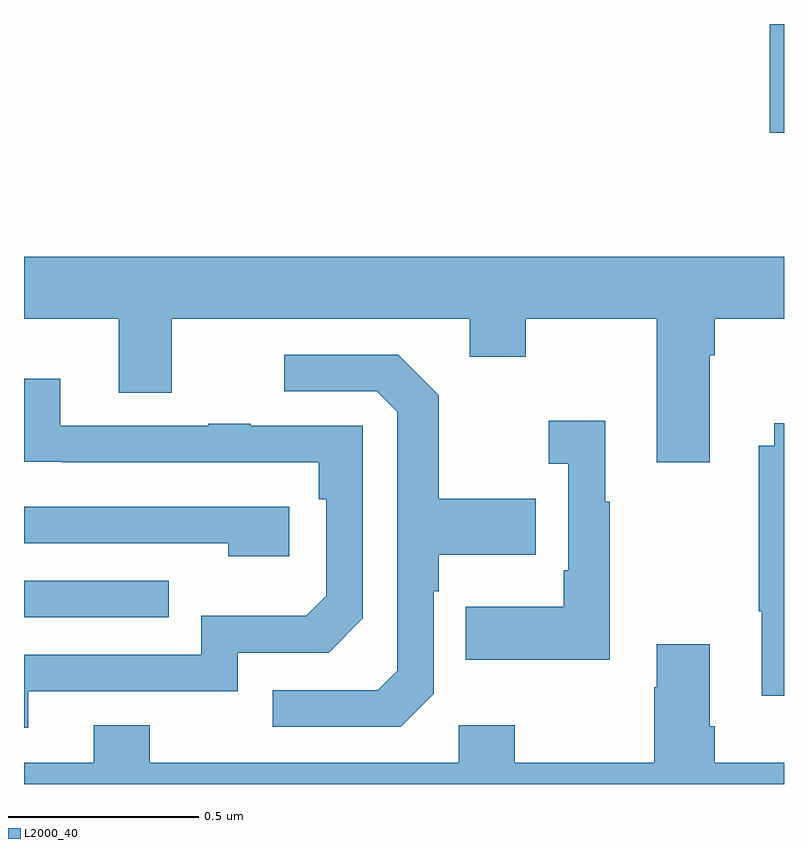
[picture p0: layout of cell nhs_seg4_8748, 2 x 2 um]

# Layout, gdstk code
import gdstk
lib = gdstk.Library(unit=1e-6, precision=1e-09)
def R(c, l, rs):  # rectangles x0, y0, x1, y1
    for r in rs: c.add(gdstk.rectangle(r[:2], r[2:], *l))
def P(c, l, *ps):  # polygons
    for p in ps: c.add(gdstk.Polygon(p, *l))
L2000_40 = (2000, 40)

nhs_seg4_8748 = lib.new_cell('nhs_seg4_8748')
R(nhs_seg4_8748, L2000_40, [(218,825.339,218.381,825.435), (219.962,826.614,220,826.9)])
P(nhs_seg4_8748, L2000_40, [(219.805,826.028),(219.818,826.028),(219.818,826.124),(220,826.124),(220,826.288),(218,826.288),(218,826.124),(218.249,826.124),(218.249,825.93),(218.389,825.93),(218.389,826.124),(219.173,826.124),(219.173,826.025),(219.321,826.025),(219.321,826.124),(219.665,826.124),(219.665,825.747),(219.805,825.747)],
  [(219.078,825.138),(219.078,825.407),(219.091,825.407),(219.091,825.503),(219.347,825.503),(219.347,825.651),(219.091,825.651),(219.091,825.923),(218.985,826.029),(218.685,826.029),(218.685,825.933),(218.928,825.933),(218.982,825.879),(218.982,825.198),(218.931,825.147),(218.655,825.147),(218.655,825.051),(218.991,825.051)],
  [(218.011,825.144),(218.562,825.144),(218.562,825.246),(218.802,825.246),(218.892,825.336),(218.892,825.843),(218.597,825.843),(218.597,825.848),(218.485,825.848),(218.485,825.843),(218.095,825.843),(218.095,825.967),(218,825.967),(218,825.748),(218.101,825.748),(218.101,825.747),(218.776,825.747),(218.776,825.65),(218.796,825.65),(218.796,825.396),(218.743,825.343),(218.466,825.343),(218.466,825.24),(218,825.24),(218,825.048),(218.011,825.048)],
  [(219.541,825.643),(219.529,825.643),(219.529,825.856),(219.381,825.856),(219.381,825.743),(219.432,825.743),(219.432,825.463),(219.42,825.463),(219.42,825.367),(219.163,825.367),(219.163,825.227),(219.541,825.227)],
  [(220,825.85),(219.974,825.85),(219.974,825.79),(219.934,825.79),(219.934,825.355),(219.941,825.355),(219.941,825.132),(220,825.132)],
  [(218.698,825.63),(218,825.63),(218,825.534),(218.537,825.534),(218.537,825.5),(218.698,825.5)],
  [(220,824.956),(219.818,824.956),(219.818,825.052),(219.805,825.052),(219.805,825.268),(219.665,825.268),(219.665,825.155),(219.658,825.155),(219.658,824.956),(219.291,824.956),(219.291,825.055),(219.144,825.055),(219.144,824.956),(218.331,824.956),(218.331,825.055),(218.183,825.055),(218.183,824.956),(218,824.956),(218,824.9),(220,824.9)])

lib.write_gds('nhs_seg4_8748.gds')
